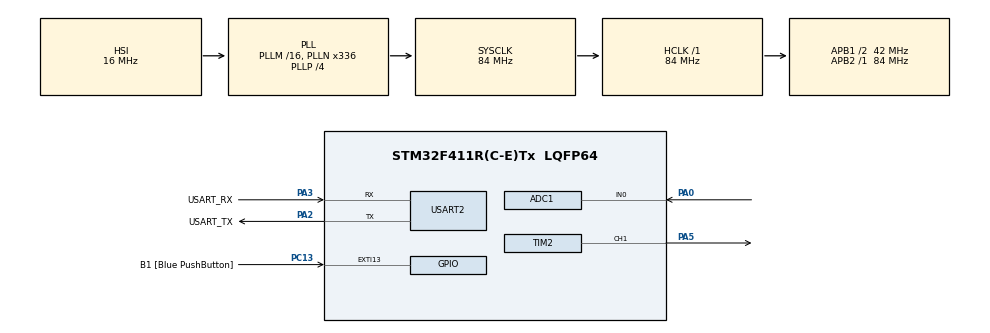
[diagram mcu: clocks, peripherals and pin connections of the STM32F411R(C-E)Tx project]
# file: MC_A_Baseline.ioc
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ADC1.Channel-0\#ChannelRegularConversion=ADC_CHANNEL_0
ADC1.ContinuousConvMode=ENABLE
ADC1.DMAContinuousRequests=ENABLE
ADC1.EOCSelection=ADC_EOC_SEQ_CONV
ADC1.NbrOfConversionFlag=1
ADC1.Rank-0\#ChannelRegularConversion=1
ADC1.SamplingTime-0\#ChannelRegularConversion=ADC_SAMPLETIME_480CYCLES
ADC1.master=1
Dma.ADC1.0.Direction=DMA_PERIPH_TO_MEMORY
Dma.ADC1.0.FIFOMode=DMA_FIFOMODE_DISABLE
Dma.ADC1.0.Instance=DMA2_Stream0
Dma.ADC1.0.MemDataAlignment=DMA_MDATAALIGN_HALFWORD
Dma.ADC1.0.MemInc=DMA_MINC_ENABLE
Dma.ADC1.0.Mode=DMA_CIRCULAR
Dma.ADC1.0.PeriphDataAlignment=DMA_PDATAALIGN_HALFWORD
Dma.ADC1.0.PeriphInc=DMA_PINC_DISABLE
Dma.ADC1.0.Priority=DMA_PRIORITY_LOW
Dma.Request0=ADC1
Mcu.Family=STM32F4
Mcu.Name=STM32F411R(C-E)Tx
Mcu.Package=LQFP64
NVIC.ADC_IRQn=true\:0\:0\:false\:false\:true\:true\:true\:true
NVIC.DMA2_Stream0_IRQn=true\:0\:0\:false\:false\:true\:false\:true\:true
NVIC.PriorityGroup=NVIC_PRIORITYGROUP_0
NVIC.TIM2_IRQn=true\:0\:0\:false\:false\:true\:true\:true\:true
NVIC.TIM4_IRQn=true\:0\:0\:false\:false\:true\:true\:true\:true
PA0-WKUP.Signal=ADCx_IN0
PA13.GPIO_Label=TMS
PA13.Mode=Serial_Wire
PA13.Signal=SYS_JTMS-SWDIO
PA14.GPIO_Label=TCK
PA14.Mode=Serial_Wire
PA14.Signal=SYS_JTCK-SWCLK
PA2.GPIO_Label=USART_TX
PA2.Mode=Asynchronous
PA2.Signal=USART2_TX
PA3.GPIO_Label=USART_RX
PA3.Mode=Asynchronous
PA3.Signal=USART2_RX
PA5.Signal=S_TIM2_CH1_ETR
PB3.GPIO_Label=SWO
PB3.Signal=SYS_JTDO-SWO
PC13-ANTI_TAMP.GPIO_Label=B1 [Blue PushButton]
PC13-ANTI_TAMP.GPIO_ModeDefaultEXTI=GPIO_MODE_IT_FALLING
PC13-ANTI_TAMP.Signal=GPXTI13
PC14-OSC32_IN.Mode=LSE-External-Oscillator
PC14-OSC32_IN.Signal=RCC_OSC32_IN
PC15-OSC32_OUT.Mode=LSE-External-Oscillator
PC15-OSC32_OUT.Signal=RCC_OSC32_OUT
PH0\ -\ OSC_IN.Mode=HSE-External-Clock-Source
PH0\ -\ OSC_IN.Signal=RCC_OSC_IN
PH1\ -\ OSC_OUT.Mode=HSE-External-Clock-Source
PH1\ -\ OSC_OUT.Signal=RCC_OSC_OUT
ProjectManager.HeapSize=0x200
ProjectManager.StackSize=0x400
ProjectManager.TargetToolchain=STM32CubeIDE
RCC.48MHZClocksFreq_Value=84000000
RCC.AHBFreq_Value=84000000
RCC.APB1CLKDivider=RCC_HCLK_DIV2
RCC.APB1Freq_Value=42000000
RCC.APB1TimFreq_Value=84000000
RCC.APB2Freq_Value=84000000
RCC.APB2TimFreq_Value=84000000
RCC.CortexFreq_Value=84000000
RCC.FLatency-AdvancedSettings=FLASH_LATENCY_2
RCC.HCLKFreq_Value=84000000
RCC.HSE_VALUE=8000000
RCC.HSI_VALUE=16000000
RCC.PLLN=336
RCC.PLLP=RCC_PLLP_DIV4
RCC.SYSCLKFreq_VALUE=84000000
RCC.SYSCLKSource=RCC_SYSCLKSOURCE_PLLCLK
RCC.VCOOutputFreq_Value=336000000
SH.ADCx_IN0.0=ADC1_IN0,IN0
SH.S_TIM2_CH1_ETR.0=TIM2_CH1,PWM Generation1 CH1
TIM2.AutoReloadPreload=TIM_AUTORELOAD_PRELOAD_ENABLE
TIM2.Channel-PWM\ Generation1\ CH1=TIM_CHANNEL_1
TIM2.Period=4199
TIM2.Prescaler=0
TIM4.Prescaler=8399
USART2.VirtualMode=VM_ASYNC
VP_TIM2_VS_ClockSourceINT.Mode=Internal
VP_TIM4_VS_ClockSourceINT.Mode=Internal
board=NUCLEO-F411RE

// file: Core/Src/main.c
/* USER CODE BEGIN Header */
/**
  ******************************************************************************
  * @file           : main.c
  * @brief          : Main program body
  ******************************************************************************
  * @attention
  *
  * Copyright (c) 2026 STMicroelectronics.
  * All rights reserved.
  *
  * This software is licensed under terms that can be found in the LICENSE file
  * in the root directory of this software component.
  * If no LICENSE file comes with this software, it is provided AS-IS.
  *
  ******************************************************************************
  */
/* USER CODE END Header */
#include "main.h"

/* USER CODE BEGIN Includes */
#include "stm32f4xx_hal.h"
#include "pwm.h"
#include "adc_sense.h"
#include "uart_log.h"
#include "util.h"
/* USER CODE END Includes */

ADC_HandleTypeDef hadc1;
DMA_HandleTypeDef hdma_adc1;

TIM_HandleTypeDef htim2;
TIM_HandleTypeDef htim4;

UART_HandleTypeDef huart2;

/* USER CODE BEGIN PV */
static volatile uint8_t  s_duty = 5;        // 5..95%
static const uint16_t    s_target = 1300;   // 目标 ADC 原始值
static const float       s_kp = 0.03f;

/* USER CODE END PV */

void SystemClock_Config(void);
static void MX_GPIO_Init(void);
static void MX_DMA_Init(void);
static void MX_ADC1_Init(void);
static void MX_TIM2_Init(void);
static void MX_TIM4_Init(void);
static void MX_USART2_UART_Init(void);

int main(void)
{

  /* MCU Configuration--------------------------------------------------------*/

  /* Reset of all peripherals, Initializes the Flash interface and the Systick. */
  HAL_Init();

  /* Configure the system clock */
  SystemClock_Config();

  /* Initialize all configured peripherals */
  MX_GPIO_Init();
  MX_DMA_Init();
  MX_ADC1_Init();
  MX_TIM2_Init();
  MX_TIM4_Init();
  MX_USART2_UART_Init();
  /* USER CODE BEGIN 2 */
  	  UART_Log_Init();
      PWM_Init_TIM2_PA5_20kHz();
      ADC1_DMA_Init_PA0();

      uart_printf("[BOOT] Nucleo-F411RE PWM-ADC-CL ready\r\n");
      uint32_t last_ms = HAL_GetTick();
      uint32_t print_ms = HAL_GetTick();

  /* USER CODE END 2 */

  /* Infinite loop */
  while (1)
  {

    /* USER CODE BEGIN 3 */
      uint32_t now = HAL_GetTick();

      // 100 Hz 控制回路（10ms）
      if (now - last_ms >= 10) {
          last_ms = now;

          uint16_t adc = adc_get_avg();
          int32_t  err = (int32_t)s_target - (int32_t)adc;

          // P 控制
          float d = (float)s_duty + s_kp * (float)err;
          if (d < 5.f) d = 5.f;
          if (d > 95.f) d = 95.f;
          s_duty = (uint8_t)d;

          PWM_SetDuty_Percent(s_duty);
      }

      // 100 ms 打印一次
      if (now - print_ms >= 100) {
          print_ms = now;
          uint16_t adc = adc_get_avg();
          uart_printf("ms=%lu mode=CL duty%%%u adc_avg=%u target=%u\r\n",
                      (unsigned long)now, s_duty, adc, s_target);
      }
  }
  /* USER CODE END 3 */
}

void SystemClock_Config(void)
{
  RCC_OscInitTypeDef RCC_OscInitStruct = {0};
  RCC_ClkInitTypeDef RCC_ClkInitStruct = {0};

  /** Configure the main internal regulator output voltage
  */
  __HAL_RCC_PWR_CLK_ENABLE();
  __HAL_PWR_VOLTAGESCALING_CONFIG(PWR_REGULATOR_VOLTAGE_SCALE1);

  /** Initializes the RCC Oscillators according to the specified parameters
  * in the RCC_OscInitTypeDef structure.
  */
  RCC_OscInitStruct.OscillatorType = RCC_OSCILLATORTYPE_HSI;
  RCC_OscInitStruct.HSIState = RCC_HSI_ON;
  RCC_OscInitStruct.HSICalibrationValue = RCC_HSICALIBRATION_DEFAULT;
  RCC_OscInitStruct.PLL.PLLState = RCC_PLL_ON;
  RCC_OscInitStruct.PLL.PLLSource = RCC_PLLSOURCE_HSI;
  RCC_OscInitStruct.PLL.PLLM = 16;
  RCC_OscInitStruct.PLL.PLLN = 336;
  RCC_OscInitStruct.PLL.PLLP = RCC_PLLP_DIV4;
  RCC_OscInitStruct.PLL.PLLQ = 4;
  if (HAL_RCC_OscConfig(&RCC_OscInitStruct) != HAL_OK)
  {
    Error_Handler();
  }

  /** Initializes the CPU, AHB and APB buses clocks
  */
  RCC_ClkInitStruct.ClockType = RCC_CLOCKTYPE_HCLK|RCC_CLOCKTYPE_SYSCLK
                              |RCC_CLOCKTYPE_PCLK1|RCC_CLOCKTYPE_PCLK2;
  RCC_ClkInitStruct.SYSCLKSource = RCC_SYSCLKSOURCE_PLLCLK;
  RCC_ClkInitStruct.AHBCLKDivider = RCC_SYSCLK_DIV1;
  RCC_ClkInitStruct.APB1CLKDivider = RCC_HCLK_DIV2;
  RCC_ClkInitStruct.APB2CLKDivider = RCC_HCLK_DIV1;

  if (HAL_RCC_ClockConfig(&RCC_ClkInitStruct, FLASH_LATENCY_2) != HAL_OK)
  {
    Error_Handler();
  }
}

static void MX_ADC1_Init(void)
{

  ADC_ChannelConfTypeDef sConfig = {0};

  /** Configure the global features of the ADC (Clock, Resolution, Data Alignment and number of conversion)
  */
  hadc1.Instance = ADC1;
  hadc1.Init.ClockPrescaler = ADC_CLOCK_SYNC_PCLK_DIV4;
  hadc1.Init.Resolution = ADC_RESOLUTION_12B;
  hadc1.Init.ScanConvMode = DISABLE;
  hadc1.Init.ContinuousConvMode = ENABLE;
  hadc1.Init.DiscontinuousConvMode = DISABLE;
  hadc1.Init.ExternalTrigConvEdge = ADC_EXTERNALTRIGCONVEDGE_NONE;
  hadc1.Init.ExternalTrigConv = ADC_SOFTWARE_START;
  hadc1.Init.DataAlign = ADC_DATAALIGN_RIGHT;
  hadc1.Init.NbrOfConversion = 1;
  hadc1.Init.DMAContinuousRequests = ENABLE;
  hadc1.Init.EOCSelection = ADC_EOC_SEQ_CONV;
  if (HAL_ADC_Init(&hadc1) != HAL_OK)
  {
    Error_Handler();
  }

  /** Configure for the selected ADC regular channel its corresponding rank in the sequencer and its sample time.
  */
  sConfig.Channel = ADC_CHANNEL_0;
  sConfig.Rank = 1;
  sConfig.SamplingTime = ADC_SAMPLETIME_480CYCLES;
  if (HAL_ADC_ConfigChannel(&hadc1, &sConfig) != HAL_OK)
  {
    Error_Handler();
  }

}

static void MX_TIM2_Init(void)
{

  TIM_ClockConfigTypeDef sClockSourceConfig = {0};
  TIM_MasterConfigTypeDef sMasterConfig = {0};
  TIM_OC_InitTypeDef sConfigOC = {0};

  htim2.Instance = TIM2;
  htim2.Init.Prescaler = 0;
  htim2.Init.CounterMode = TIM_COUNTERMODE_UP;
  htim2.Init.Period = 4199;
  htim2.Init.ClockDivision = TIM_CLOCKDIVISION_DIV1;
  htim2.Init.AutoReloadPreload = TIM_AUTORELOAD_PRELOAD_ENABLE;
  if (HAL_TIM_Base_Init(&htim2) != HAL_OK)
  {
    Error_Handler();
  }
  sClockSourceConfig.ClockSource = TIM_CLOCKSOURCE_INTERNAL;
  if (HAL_TIM_ConfigClockSource(&htim2, &sClockSourceConfig) != HAL_OK)
  {
    Error_Handler();
  }
  if (HAL_TIM_PWM_Init(&htim2) != HAL_OK)
  {
    Error_Handler();
  }
  sMasterConfig.MasterOutputTrigger = TIM_TRGO_RESET;
  sMasterConfig.MasterSlaveMode = TIM_MASTERSLAVEMODE_DISABLE;
  if (HAL_TIMEx_MasterConfigSynchronization(&htim2, &sMasterConfig) != HAL_OK)
  {
    Error_Handler();
  }
  sConfigOC.OCMode = TIM_OCMODE_PWM1;
  sConfigOC.Pulse = 0;
  sConfigOC.OCPolarity = TIM_OCPOLARITY_HIGH;
  sConfigOC.OCFastMode = TIM_OCFAST_DISABLE;
  if (HAL_TIM_PWM_ConfigChannel(&htim2, &sConfigOC, TIM_CHANNEL_1) != HAL_OK)
  {
    Error_Handler();
  }
  HAL_TIM_MspPostInit(&htim2);

}

static void MX_TIM4_Init(void)
{

  TIM_ClockConfigTypeDef sClockSourceConfig = {0};
  TIM_MasterConfigTypeDef sMasterConfig = {0};

  htim4.Instance = TIM4;
  htim4.Init.Prescaler = 8399;
  htim4.Init.CounterMode = TIM_COUNTERMODE_UP;
  htim4.Init.Period = 65535;
  htim4.Init.ClockDivision = TIM_CLOCKDIVISION_DIV1;
  htim4.Init.AutoReloadPreload = TIM_AUTORELOAD_PRELOAD_DISABLE;
  if (HAL_TIM_Base_Init(&htim4) != HAL_OK)
  {
    Error_Handler();
  }
  sClockSourceConfig.ClockSource = TIM_CLOCKSOURCE_INTERNAL;
  if (HAL_TIM_ConfigClockSource(&htim4, &sClockSourceConfig) != HAL_OK)
  {
    Error_Handler();
  }
  sMasterConfig.MasterOutputTrigger = TIM_TRGO_RESET;
  sMasterConfig.MasterSlaveMode = TIM_MASTERSLAVEMODE_DISABLE;
  if (HAL_TIMEx_MasterConfigSynchronization(&htim4, &sMasterConfig) != HAL_OK)
  {
    Error_Handler();
  }

}

static void MX_USART2_UART_Init(void)
{

  huart2.Instance = USART2;
  huart2.Init.BaudRate = 115200;
  huart2.Init.WordLength = UART_WORDLENGTH_8B;
  huart2.Init.StopBits = UART_STOPBITS_1;
  huart2.Init.Parity = UART_PARITY_NONE;
  huart2.Init.Mode = UART_MODE_TX_RX;
  huart2.Init.HwFlowCtl = UART_HWCONTROL_NONE;
  huart2.Init.OverSampling = UART_OVERSAMPLING_16;
  if (HAL_UART_Init(&huart2) != HAL_OK)
  {
    Error_Handler();
  }

}

static void MX_DMA_Init(void)
{

  /* DMA controller clock enable */
  __HAL_RCC_DMA2_CLK_ENABLE();

  /* DMA interrupt init */
  /* DMA2_Stream0_IRQn interrupt configuration */
  HAL_NVIC_SetPriority(DMA2_Stream0_IRQn, 0, 0);
  HAL_NVIC_EnableIRQ(DMA2_Stream0_IRQn);

}

static void MX_GPIO_Init(void)
{
  GPIO_InitTypeDef GPIO_InitStruct = {0};

  /* GPIO Ports Clock Enable */
  __HAL_RCC_GPIOC_CLK_ENABLE();
  __HAL_RCC_GPIOH_CLK_ENABLE();
  __HAL_RCC_GPIOA_CLK_ENABLE();
  __HAL_RCC_GPIOB_CLK_ENABLE();

  /*Configure GPIO pin : B1_Pin */
  GPIO_InitStruct.Pin = B1_Pin;
  GPIO_InitStruct.Mode = GPIO_MODE_IT_FALLING;
  GPIO_InitStruct.Pull = GPIO_NOPULL;
  HAL_GPIO_Init(B1_GPIO_Port, &GPIO_InitStruct);

}

void Error_Handler(void)
{
  __disable_irq();
  while (1)
  {
  }
}
